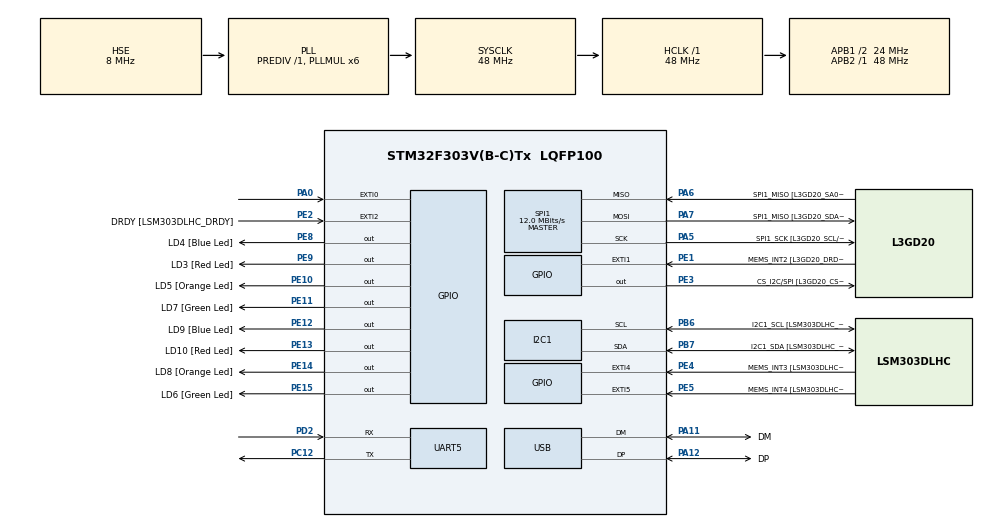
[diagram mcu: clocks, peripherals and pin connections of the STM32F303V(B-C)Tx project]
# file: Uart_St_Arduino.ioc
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Mcu.Family=STM32F3
PA6.Mode=Full_Duplex_Master
RCC.CortexFreq_Value=48000000
SPI1.VirtualType=VM_MASTER
PE11.GPIO_Label=LD7 [Green Led]
PC12.Signal=UART5_TX
PA14.GPIO_Label=SWCLK
RCC.SYSCLKSourceVirtual=RCC_SYSCLKSOURCE_PLLCLK
PA11.Mode=Device
PA6.GPIO_Label=SPI1_MISO [L3GD20_SA0/SDO]
PB6.GPIO_Label=I2C1_SCL [LSM303DLHC_SCL]
PC15-OSC32_OUT.GPIO_Label=OSC32_OUT
ProjectManager.StackSize=0x400
NVIC.UART5_IRQn=true\:0\:0\:false\:false\:true\:true\:true
SPI1.Mode-Full_Duplex_Master=SPI_MODE_MASTER
PA12.Signal=USB_DP
SPI1.Direction=SPI_DIRECTION_2LINES
RCC.HCLKFreq_Value=48000000
RCC.APB2TimFreq_Value=48000000
PB6.Signal=I2C1_SCL
PB6.Mode=I2C
SPI1.CalculateBaudRate=12.0 MBits/s
PE5.Signal=GPXTI5
PE1.Signal=GPXTI1
RCC.AHBFreq_Value=48000000
RCC.HSE_VALUE=8000000
PF0-OSC_IN.GPIO_Label=OSC_IN
RCC.PLLMUL=RCC_PLL_MUL6
PE13.Signal=GPIO_Output
PE9.Signal=GPIO_Output
PA14.Mode=Serial_Wire
PE4.GPIO_Label=MEMS_INT3 [LSM303DLHC_INT1]
PE2.Signal=GPXTI2
PB7.Signal=I2C1_SDA
PE10.Signal=GPIO_Output
PE4.Signal=GPXTI4
SPI1.CalculateBaudRate-Full_Duplex_Master=24.0 MBits/s
PA0.Signal=GPXTI0
PB7.GPIO_Label=I2C1_SDA [LSM303DLHC_SDA]
Mcu.Package=LQFP100
PA6.Signal=SPI1_MISO
PE12.GPIO_Label=LD9 [Blue Led]
RCC.APB1TimFreq_Value=48000000
PC14-OSC32_IN.GPIO_Label=OSC32_IN
PE10.GPIO_Label=LD5 [Orange Led]
SPI1.BaudRatePrescaler=SPI_BAUDRATEPRESCALER_4
PE2.GPIO_Label=DRDY [LSM303DLHC_DRDY]
PF1-OSC_OUT.Signal=RCC_OSC_OUT
PA5.Mode=Full_Duplex_Master
PB3.GPIO_Label=SWO
PA7.Mode=Full_Duplex_Master
PE4.GPIO_ModeDefaultEXTI=GPIO_MODE_EVT_RISING
PA11.GPIO_Label=DM
PE14.GPIO_Label=LD8 [Orange Led]
PE1.GPIO_ModeDefaultEXTI=GPIO_MODE_EVT_RISING
RCC.APB1CLKDivider=RCC_HCLK_DIV2
PC14-OSC32_IN.Signal=RCC_OSC32_IN
PA12.GPIO_Label=DP
PA13.Signal=SYS_JTMS-SWDIO
PE15.GPIO_Label=LD6 [Green Led]
ProjectManager.TargetToolchain=STM32CubeIDE
PE5.GPIO_ModeDefaultEXTI=GPIO_MODE_EVT_RISING
PE8.GPIO_Label=LD4 [Blue Led]
I2C1.Timing=0x2000090E
RCC.USBFreq_Value=48000000
PE11.Signal=GPIO_Output
RCC.LSE_VALUE=32768
PC15-OSC32_OUT.Signal=RCC_OSC32_OUT
PE9.GPIO_Label=LD3 [Red Led]
PF0-OSC_IN.Mode=HSE-External-Clock-Source
PD2.Mode=Asynchronous
PA5.Signal=SPI1_SCK
PC12.Mode=Asynchronous
board=STM32F3DISCOVERY
PE1.GPIO_Label=MEMS_INT2 [L3GD20_DRDY/INT2]
RCC.APB2Freq_Value=48000000
PE14.Signal=GPIO_Output
PE15.Signal=GPIO_Output
PE8.Signal=GPIO_Output
SPI1.Mode=SPI_MODE_MASTER
PF1-OSC_OUT.GPIO_Label=OSC_OUT
I2C1.Timing-I2C=0x2000090E
PA13.Mode=Serial_Wire
Mcu.Name=STM32F303V(B-C)Tx
PE12.Signal=GPIO_Output
PA13.GPIO_Label=SWDIO
PB3.Signal=SYS_JTDO-TRACESWO
NVIC.EXTI0_IRQn=true\:0\:0\:false\:false\:true\:true\:true
RCC.SYSCLKFreq_VALUE=48000000
PA7.GPIO_Label=SPI1_MISO [L3GD20_SDA/SDI/SDO]
PE13.GPIO_Label=LD10 [Red Led]
PA12.Mode=Device
PA5.GPIO_Label=SPI1_SCK [L3GD20_SCL/SPC]
PE5.GPIO_Label=MEMS_INT4 [LSM303DLHC_INT2]
PB7.Mode=I2C
PA11.Signal=USB_DM
PA14.Signal=SYS_JTCK-SWCLK
ProjectManager.HeapSize=0x200
RCC.HSI_VALUE=8000000
NVIC.PriorityGroup=NVIC_PRIORITYGROUP_0
PE3.Signal=GPIO_Output
PE3.GPIO_Label=CS_I2C/SPI [L3GD20_CS_I2C/SPI]
PE2.GPIO_ModeDefaultEXTI=GPIO_MODE_EVT_RISING
PF0-OSC_IN.Signal=RCC_OSC_IN
PD2.Signal=UART5_RX
RCC.APB1Freq_Value=24000000
SPI1.BaudRatePrescaler-Full_Duplex_Master=SPI_BAUDRATEPRESCALER_2
PA7.Signal=SPI1_MOSI

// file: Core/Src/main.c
/* USER CODE BEGIN Header */
/**
  ******************************************************************************
  * @file           : main.c
  * @brief          : Main program body
  ******************************************************************************
  * @attention
  *
  * <h2><center>&copy; Copyright (c) 2021 STMicroelectronics.
  * All rights reserved.</center></h2>
  *
  * This software component is licensed by ST under BSD 3-Clause license,
  * the "License"; You may not use this file except in compliance with the
  * License. You may obtain a copy of the License at:
  *                        opensource.org/licenses/BSD-3-Clause
  *
  ******************************************************************************
  */
/* USER CODE END Header */
#include "main.h"

/* USER CODE BEGIN Includes */
#include <assert.h>
/* USER CODE END Includes */

I2C_HandleTypeDef hi2c1;

SPI_HandleTypeDef hspi1;

UART_HandleTypeDef huart5;

PCD_HandleTypeDef hpcd_USB_FS;

/* USER CODE BEGIN PV */

char bufftrasmit = ' ' ;
char buffreceive = '0' ;

/* USER CODE END PV */

void SystemClock_Config(void);
static void MX_GPIO_Init(void);
static void MX_I2C1_Init(void);
static void MX_SPI1_Init(void);
static void MX_USB_PCD_Init(void);
static void MX_UART5_Init(void);

/* USER CODE BEGIN 0 */
void HAL_GPIO_EXTI_Callback (uint16_t GPIO_Pin){

	char* buff = &bufftrasmit;
	HAL_StatusTypeDef status = HAL_UART_Transmit_IT(&huart5,(uint8_t*) buff , 1);
	assert(status == HAL_OK);
	// HAL_GPIO_TogglePin(GPIOE, GPIO_PIN_11);

}

void HAL_UART_RxCpltCallback(UART_HandleTypeDef *huart){

	char* buff = &buffreceive;
	HAL_GPIO_TogglePin(GPIOE, GPIO_PIN_15);

	HAL_StatusTypeDef status = HAL_UART_Receive_IT(&huart5,(uint8_t*) buff, 1);
	assert(status == HAL_OK);

}

/* USER CODE END 0 */

int main(void)
{

  /* MCU Configuration--------------------------------------------------------*/

  /* Reset of all peripherals, Initializes the Flash interface and the Systick. */
  HAL_Init();

  /* Configure the system clock */
  SystemClock_Config();

  /* Initialize all configured peripherals */
  MX_GPIO_Init();
  MX_I2C1_Init();
  MX_SPI1_Init();
  MX_USB_PCD_Init();
  MX_UART5_Init();
  /* USER CODE BEGIN 2 */

  char* buff = &buffreceive;
  HAL_StatusTypeDef status = HAL_UART_Receive_IT(&huart5, (uint8_t*) buff, 1);
  assert(status == HAL_OK);

  /* USER CODE END 2 */

  /* Infinite loop */
  while (1)
  {

  }
}

void SystemClock_Config(void)
{
  RCC_OscInitTypeDef RCC_OscInitStruct = {0};
  RCC_ClkInitTypeDef RCC_ClkInitStruct = {0};
  RCC_PeriphCLKInitTypeDef PeriphClkInit = {0};

  /** Initializes the RCC Oscillators according to the specified parameters
  * in the RCC_OscInitTypeDef structure.
  */
  RCC_OscInitStruct.OscillatorType = RCC_OSCILLATORTYPE_HSI|RCC_OSCILLATORTYPE_HSE;
  RCC_OscInitStruct.HSEState = RCC_HSE_BYPASS;
  RCC_OscInitStruct.HSEPredivValue = RCC_HSE_PREDIV_DIV1;
  RCC_OscInitStruct.HSIState = RCC_HSI_ON;
  RCC_OscInitStruct.HSICalibrationValue = RCC_HSICALIBRATION_DEFAULT;
  RCC_OscInitStruct.PLL.PLLState = RCC_PLL_ON;
  RCC_OscInitStruct.PLL.PLLSource = RCC_PLLSOURCE_HSE;
  RCC_OscInitStruct.PLL.PLLMUL = RCC_PLL_MUL6;
  if (HAL_RCC_OscConfig(&RCC_OscInitStruct) != HAL_OK)
  {
    Error_Handler();
  }
  /** Initializes the CPU, AHB and APB buses clocks
  */
  RCC_ClkInitStruct.ClockType = RCC_CLOCKTYPE_HCLK|RCC_CLOCKTYPE_SYSCLK
                              |RCC_CLOCKTYPE_PCLK1|RCC_CLOCKTYPE_PCLK2;
  RCC_ClkInitStruct.SYSCLKSource = RCC_SYSCLKSOURCE_PLLCLK;
  RCC_ClkInitStruct.AHBCLKDivider = RCC_SYSCLK_DIV1;
  RCC_ClkInitStruct.APB1CLKDivider = RCC_HCLK_DIV2;
  RCC_ClkInitStruct.APB2CLKDivider = RCC_HCLK_DIV1;

  if (HAL_RCC_ClockConfig(&RCC_ClkInitStruct, FLASH_LATENCY_1) != HAL_OK)
  {
    Error_Handler();
  }
  PeriphClkInit.PeriphClockSelection = RCC_PERIPHCLK_USB|RCC_PERIPHCLK_UART5
                              |RCC_PERIPHCLK_I2C1;
  PeriphClkInit.Uart5ClockSelection = RCC_UART5CLKSOURCE_PCLK1;
  PeriphClkInit.I2c1ClockSelection = RCC_I2C1CLKSOURCE_HSI;
  PeriphClkInit.USBClockSelection = RCC_USBCLKSOURCE_PLL;
  if (HAL_RCCEx_PeriphCLKConfig(&PeriphClkInit) != HAL_OK)
  {
    Error_Handler();
  }
}

static void MX_I2C1_Init(void)
{

  hi2c1.Instance = I2C1;
  hi2c1.Init.Timing = 0x2000090E;
  hi2c1.Init.OwnAddress1 = 0;
  hi2c1.Init.AddressingMode = I2C_ADDRESSINGMODE_7BIT;
  hi2c1.Init.DualAddressMode = I2C_DUALADDRESS_DISABLE;
  hi2c1.Init.OwnAddress2 = 0;
  hi2c1.Init.OwnAddress2Masks = I2C_OA2_NOMASK;
  hi2c1.Init.GeneralCallMode = I2C_GENERALCALL_DISABLE;
  hi2c1.Init.NoStretchMode = I2C_NOSTRETCH_DISABLE;
  if (HAL_I2C_Init(&hi2c1) != HAL_OK)
  {
    Error_Handler();
  }
  /** Configure Analogue filter
  */
  if (HAL_I2CEx_ConfigAnalogFilter(&hi2c1, I2C_ANALOGFILTER_ENABLE) != HAL_OK)
  {
    Error_Handler();
  }
  /** Configure Digital filter
  */
  if (HAL_I2CEx_ConfigDigitalFilter(&hi2c1, 0) != HAL_OK)
  {
    Error_Handler();
  }

}

static void MX_SPI1_Init(void)
{

  /* SPI1 parameter configuration*/
  hspi1.Instance = SPI1;
  hspi1.Init.Mode = SPI_MODE_MASTER;
  hspi1.Init.Direction = SPI_DIRECTION_2LINES;
  hspi1.Init.DataSize = SPI_DATASIZE_4BIT;
  hspi1.Init.CLKPolarity = SPI_POLARITY_LOW;
  hspi1.Init.CLKPhase = SPI_PHASE_1EDGE;
  hspi1.Init.NSS = SPI_NSS_SOFT;
  hspi1.Init.BaudRatePrescaler = SPI_BAUDRATEPRESCALER_4;
  hspi1.Init.FirstBit = SPI_FIRSTBIT_MSB;
  hspi1.Init.TIMode = SPI_TIMODE_DISABLE;
  hspi1.Init.CRCCalculation = SPI_CRCCALCULATION_DISABLE;
  hspi1.Init.CRCPolynomial = 7;
  hspi1.Init.CRCLength = SPI_CRC_LENGTH_DATASIZE;
  hspi1.Init.NSSPMode = SPI_NSS_PULSE_ENABLE;
  if (HAL_SPI_Init(&hspi1) != HAL_OK)
  {
    Error_Handler();
  }

}

static void MX_UART5_Init(void)
{

  huart5.Instance = UART5;
  huart5.Init.BaudRate = 115200;
  huart5.Init.WordLength = UART_WORDLENGTH_8B;
  huart5.Init.StopBits = UART_STOPBITS_1;
  huart5.Init.Parity = UART_PARITY_NONE;
  huart5.Init.Mode = UART_MODE_TX_RX;
  huart5.Init.HwFlowCtl = UART_HWCONTROL_NONE;
  huart5.Init.OverSampling = UART_OVERSAMPLING_16;
  huart5.Init.OneBitSampling = UART_ONE_BIT_SAMPLE_DISABLE;
  huart5.AdvancedInit.AdvFeatureInit = UART_ADVFEATURE_NO_INIT;
  if (HAL_UART_Init(&huart5) != HAL_OK)
  {
    Error_Handler();
  }

}

static void MX_USB_PCD_Init(void)
{

  hpcd_USB_FS.Instance = USB;
  hpcd_USB_FS.Init.dev_endpoints = 8;
  hpcd_USB_FS.Init.speed = PCD_SPEED_FULL;
  hpcd_USB_FS.Init.phy_itface = PCD_PHY_EMBEDDED;
  hpcd_USB_FS.Init.low_power_enable = DISABLE;
  hpcd_USB_FS.Init.battery_charging_enable = DISABLE;
  if (HAL_PCD_Init(&hpcd_USB_FS) != HAL_OK)
  {
    Error_Handler();
  }

}

static void MX_GPIO_Init(void)
{
  GPIO_InitTypeDef GPIO_InitStruct = {0};

  /* GPIO Ports Clock Enable */
  __HAL_RCC_GPIOE_CLK_ENABLE();
  __HAL_RCC_GPIOC_CLK_ENABLE();
  __HAL_RCC_GPIOF_CLK_ENABLE();
  __HAL_RCC_GPIOA_CLK_ENABLE();
  __HAL_RCC_GPIOD_CLK_ENABLE();
  __HAL_RCC_GPIOB_CLK_ENABLE();

  /*Configure GPIO pin Output Level */
  HAL_GPIO_WritePin(GPIOE, CS_I2C_SPI_Pin|LD4_Pin|LD3_Pin|LD5_Pin
                          |LD7_Pin|LD9_Pin|LD10_Pin|LD8_Pin
                          |LD6_Pin, GPIO_PIN_RESET);

  /*Configure GPIO pins : DRDY_Pin MEMS_INT3_Pin MEMS_INT4_Pin MEMS_INT2_Pin */
  GPIO_InitStruct.Pin = DRDY_Pin|MEMS_INT3_Pin|MEMS_INT4_Pin|MEMS_INT2_Pin;
  GPIO_InitStruct.Mode = GPIO_MODE_EVT_RISING;
  GPIO_InitStruct.Pull = GPIO_NOPULL;
  HAL_GPIO_Init(GPIOE, &GPIO_InitStruct);

  /*Configure GPIO pins : CS_I2C_SPI_Pin LD4_Pin LD3_Pin LD5_Pin
                           LD7_Pin LD9_Pin LD10_Pin LD8_Pin
                           LD6_Pin */
  GPIO_InitStruct.Pin = CS_I2C_SPI_Pin|LD4_Pin|LD3_Pin|LD5_Pin
                          |LD7_Pin|LD9_Pin|LD10_Pin|LD8_Pin
                          |LD6_Pin;
  GPIO_InitStruct.Mode = GPIO_MODE_OUTPUT_PP;
  GPIO_InitStruct.Pull = GPIO_NOPULL;
  GPIO_InitStruct.Speed = GPIO_SPEED_FREQ_LOW;
  HAL_GPIO_Init(GPIOE, &GPIO_InitStruct);

  /*Configure GPIO pin : PA0 */
  GPIO_InitStruct.Pin = GPIO_PIN_0;
  GPIO_InitStruct.Mode = GPIO_MODE_IT_RISING;
  GPIO_InitStruct.Pull = GPIO_NOPULL;
  HAL_GPIO_Init(GPIOA, &GPIO_InitStruct);

  /* EXTI interrupt init*/
  HAL_NVIC_SetPriority(EXTI0_IRQn, 0, 0);
  HAL_NVIC_EnableIRQ(EXTI0_IRQn);

}

void Error_Handler(void)
{
  __disable_irq();
  while (1)
  {
  }
}

/************************ (C) COPYRIGHT STMicroelectronics *****END OF FILE****/
